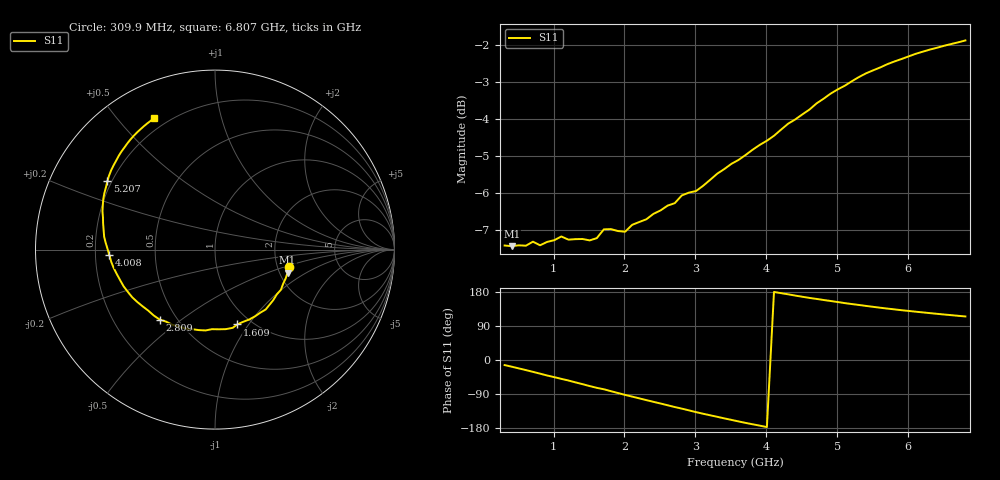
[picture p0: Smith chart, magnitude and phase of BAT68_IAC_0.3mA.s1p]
! Infineon Technologies  Discrete & RF Semiconductors
! BAT68
! IAC = 0.3 mA
! One-Port S-Parameters
# Hz  S  MA  R  50
!f  S11
!Hz  Mag  Ang
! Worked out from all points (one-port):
!   66 points, 309.9 MHz to 6.807 GHz, reference 50 ohm
!   lowest |S11| = -7.5 dB at 409.8 MHz (marker M1), VSWR 2.47, Z = 110 - j34.6 ohm
!   |S11| at or under -10 dB: nowhere
!   S11 on the Smith chart (normalised r, x): 309.9 MHz: 2.32, -0.56; 1.609 GHz: 0.86, -0.89; 2.809 GHz: 0.40, -0.42; 4.008 GHz: 0.26, -0.02; 5.207 GHz: 0.18, +0.28; 6.807 GHz: 0.15, +0.63
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3.0985e8  0.4249 -13.4
4.098e8  0.4241 -17.7
7.0965e8  0.4301 -31.3
8.096e8  0.4252 -36.0
1.10945e9  0.4371 -49.8
1.2094e9  0.4328 -54.1
1.4093e9  0.4337 -63.8
1.6092e9  0.4348 -73.4
1.70915e9  0.447 -77.2
1.8091e9  0.4473 -82.3
2.009e9  0.4437 -92.1
2.10895e9  0.4534 -96.6
2.4088e9  0.4692 -110.4
2.8086e9  0.4969 -128.3
3.0085e9  0.5038 -137.5
3.30835e9  0.5319 -149.9
3.6082e9  0.5553 -162.1
3.8081e9  0.5734 -169.7
4.008e9  0.5896 -177.0
4.30785e9  0.6218 173.3
4.4078e9  0.6302 170.0
4.70765e9  0.6625 161.2
4.90755e9  0.6832 155.7
5.2074e9  0.7102 147.6
5.6072e9  0.7414 137.9
6.007e9  0.7674 129.5
6.30685e9  0.7839 123.7
6.8066e9  0.8065 114.9
